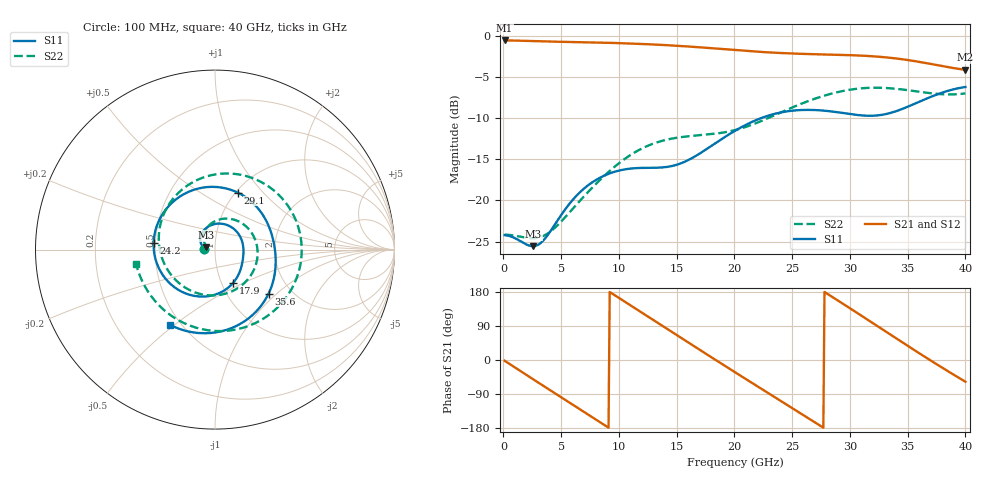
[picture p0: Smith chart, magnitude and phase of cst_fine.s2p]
! D_s8_cap_2: L1 (ref L2 GND) → L3 (ref L4 PWR), capacitor GND–PWR at 2 mm
! stackup: 8-layer 1.6 mm FR-4 (generic)
! ports: 1, 2
! CST Studio Suite 2025.5 Release from 2025-05-30, time domain (FIT, hexahedral, PBA), 474672 mesh cells, 82 s
! mesh: {'lpw': 30.0, 'lpb': 30.0, 'minstep': 0.0, 'ratio': 20}; ports: port 1 (face); port 2 (face)
! interpolated from CST's 1001 samples to the case grid
# Hz S RI R 50
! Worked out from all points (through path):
!   400 points, 100 MHz to 40 GHz, reference 50 ohm
!   highest |S21| = -0.58 dB at 100 MHz (marker M1); lowest = -4.1 dB at 40 GHz (marker M2)
!   group delay of S21, straight-line fit = 54 ps
!   lowest |S11| = -25.5 dB at 2.6 GHz (marker M3), VSWR 1.11, Z = 45.1 + j1.2 ohm
!   |S11| at or under -10 dB: start of sweep to 22.32 GHz
!   |S22| runs from -24.6 to -6.3 dB; largest |S21 - S12| = 0.0011
!   S11 on the Smith chart (normalised r, x): 100 MHz: 0.88, +0.00; 17.9 GHz: 1.13, -0.44; 24.2 GHz: 0.49, +0.04; 29.1 GHz: 1.03, +0.74; 35.6 GHz: 1.54, -0.89; 40 GHz: 0.44, -0.48
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1e8  -0.0615 0.00119  0.935 -0.0325  0.935 -0.0325  -0.062 0.00126
1.3e9  -0.0562 0.0124  0.8401 -0.4063  0.8401 -0.4063  -0.0587 0.0149
2.6e9  -0.0511 0.0133  0.5782 -0.7252  0.5782 -0.7253  -0.054 0.0237
4.7e9  -0.0722 0.0234  -0.0392 -0.9181  -0.0392 -0.9181  -0.0594 0.0387
6.8e9  -0.0743 0.088  -0.6286 -0.6633  -0.6285 -0.6634  -0.063 0.0811
8.4e9  -0.0217 0.1362  -0.877 -0.2377  -0.8771 -0.2377  -0.0395 0.1281
9.9e9  0.0551 0.1408  -0.8741 0.2219  -0.8741 0.2221  0.0164 0.1653
1.18e10  0.1345 0.0821  -0.5554 0.6978  -0.5553 0.6976  0.1267 0.1593
1.34e10  0.1578 0.0104  -0.1095 0.8747  -0.1097 0.8747  0.2112 0.0818
1.54e10  0.1524 -0.0716  0.459 0.7335  0.4592 0.7336  0.2284 -0.0813
1.67e10  0.1356 -0.1289  0.7187 0.4595  0.7187 0.4593  0.1663 -0.1837
1.79e10  0.099 -0.1874  0.83 0.1353  0.8298 0.1353  0.0651 -0.2436
2.01e10  -0.0512 -0.261  0.6839 -0.448  0.6841 -0.448  -0.1575 -0.2167
2.22e10  -0.2511 -0.1885  0.2282 -0.7643  0.2279 -0.7644  -0.2986 -0.037
2.42e10  -0.3421 0.0365  -0.287 -0.7295  -0.2868 -0.7293  -0.2865 0.1951
2.67e10  -0.1706 0.3106  -0.7226 -0.2729  -0.7229 -0.273  -0.0578 0.4042
2.91e10  0.1278 0.317  -0.6891 0.3323  -0.6887 0.3322  0.2662 0.3718
3.14e10  0.2938 0.1433  -0.2454 0.7134  -0.2459 0.7135  0.4716 0.0975
3.34e10  0.3369 -0.0293  0.2609 0.6876  0.2614 0.6877  0.4262 -0.2206
3.56e10  0.2988 -0.2446  0.6319 0.304  0.6313 0.3039  0.1329 -0.4415
3.76e10  0.1203 -0.4247  0.6449 -0.1476  0.6456 -0.1471  -0.2025 -0.3942
4e10  -0.2497 -0.4193  0.3355 -0.5223  0.3345 -0.5227  -0.4392 -0.0801
